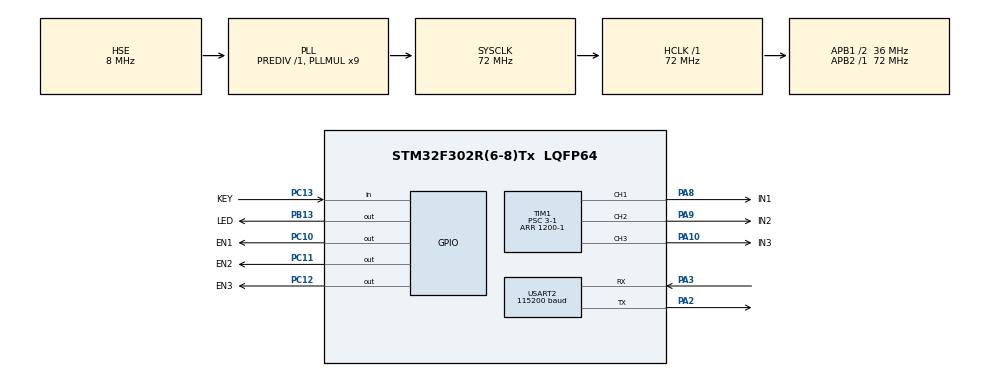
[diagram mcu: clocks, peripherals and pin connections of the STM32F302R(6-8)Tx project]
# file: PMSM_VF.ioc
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Mcu.Family=STM32F3
Mcu.Name=STM32F302R(6-8)Tx
Mcu.Package=LQFP64
NVIC.PriorityGroup=NVIC_PRIORITYGROUP_4
NVIC.TIM1_UP_TIM16_IRQn=true\:1\:0\:true\:false\:true\:true\:true
PA10.GPIO_Label=IN3
PA10.GPIO_Speed=GPIO_SPEED_FREQ_HIGH
PA10.Signal=S_TIM1_CH3
PA2.Mode=Asynchronous
PA2.Signal=USART2_TX
PA3.Mode=Asynchronous
PA3.Signal=USART2_RX
PA8.GPIO_Label=IN1
PA8.GPIO_Speed=GPIO_SPEED_FREQ_HIGH
PA8.Signal=S_TIM1_CH1
PA9.GPIO_Label=IN2
PA9.GPIO_Speed=GPIO_SPEED_FREQ_HIGH
PA9.Signal=S_TIM1_CH2
PB13.GPIO_Label=LED
PB13.GPIO_PuPd=GPIO_PULLDOWN
PB13.GPIO_Speed=GPIO_SPEED_FREQ_HIGH
PB13.Signal=GPIO_Output
PC10.GPIO_Label=EN1
PC10.GPIO_Speed=GPIO_SPEED_FREQ_HIGH
PC10.Signal=GPIO_Output
PC11.GPIO_Label=EN2
PC11.GPIO_Speed=GPIO_SPEED_FREQ_HIGH
PC11.Signal=GPIO_Output
PC12.GPIO_Label=EN3
PC12.GPIO_Speed=GPIO_SPEED_FREQ_HIGH
PC12.Signal=GPIO_Output
PC13.GPIO_Label=KEY
PC13.Signal=GPIO_Input
PF0-OSC_IN.Mode=HSE-External-Oscillator
PF0-OSC_IN.Signal=RCC_OSC_IN
PF1-OSC_OUT.Mode=HSE-External-Oscillator
PF1-OSC_OUT.Signal=RCC_OSC_OUT
ProjectManager.HeapSize=0x200
ProjectManager.StackSize=0x400
ProjectManager.TargetToolchain=MDK-ARM V5
RCC.AHBFreq_Value=72000000
RCC.APB1CLKDivider=RCC_HCLK_DIV2
RCC.APB1Freq_Value=36000000
RCC.APB1TimFreq_Value=72000000
RCC.APB2Freq_Value=72000000
RCC.APB2TimFreq_Value=72000000
RCC.CortexFreq_Value=72000000
RCC.HCLKFreq_Value=72000000
RCC.HSE_VALUE=8000000
RCC.HSI_VALUE=8000000
RCC.LSE_VALUE=32768
RCC.PLLMUL=RCC_PLL_MUL9
RCC.PLLSourceVirtual=RCC_PLLSOURCE_HSE
RCC.SYSCLKFreq_VALUE=72000000
RCC.SYSCLKSourceVirtual=RCC_SYSCLKSOURCE_PLLCLK
RCC.USBFreq_Value=72000000
SH.S_TIM1_CH1.0=TIM1_CH1,PWM Generation1 CH1
SH.S_TIM1_CH2.0=TIM1_CH2,PWM Generation2 CH2
SH.S_TIM1_CH3.0=TIM1_CH3,PWM Generation3 CH3
TIM1.Channel-PWM\ Generation1\ CH1=TIM_CHANNEL_1
TIM1.Channel-PWM\ Generation2\ CH2=TIM_CHANNEL_2
TIM1.Channel-PWM\ Generation3\ CH3=TIM_CHANNEL_3
TIM1.CounterMode=TIM_COUNTERMODE_CENTERALIGNED1
TIM1.Period=1200-1
TIM1.Prescaler=3-1
TIM1.TIM_MasterOutputTrigger=TIM_TRGO_UPDATE
USART2.BaudRate=115200
USART2.VirtualMode-Asynchronous=VM_ASYNC
VP_TIM1_VS_ClockSourceINT.Mode=Internal
board=custom

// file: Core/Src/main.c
/* USER CODE BEGIN Header */
/**
  ******************************************************************************
  * @file           : main.c
  * @brief          : Main program body
  ******************************************************************************
  * @attention
  *
  * <h2><center>&copy; Copyright (c) 2022 STMicroelectronics.
  * All rights reserved.</center></h2>
  *
  * This software component is licensed by ST under BSD 3-Clause license,
  * the "License"; You may not use this file except in compliance with the
  * License. You may obtain a copy of the License at:
  *                        opensource.org/licenses/BSD-3-Clause
  *
  ******************************************************************************
  */
/* USER CODE END Header */
#include "main.h"
#include "tim.h"
#include "usart.h"
#include "gpio.h"

/* USER CODE BEGIN Includes */
#include "PMSM_VF.h"
/* USER CODE END Includes */

/* USER CODE BEGIN PTD */
float Speed_Ref=0;
float Duty[3]={0,0,0};
float Vmin=1;
/* USER CODE END PTD */

void SystemClock_Config(void);

int main(void)
{
  /* USER CODE BEGIN 1 */
  uint8_t count=0;

  /* USER CODE END 1 */

  /* MCU Configuration--------------------------------------------------------*/

  /* Reset of all peripherals, Initializes the Flash interface and the Systick. */
  HAL_Init();

  /* Configure the system clock */
  SystemClock_Config();

  /* Initialize all configured peripherals */
  MX_GPIO_Init();
  MX_TIM1_Init();
  MX_USART2_UART_Init();
  /* USER CODE BEGIN 2 */
  PMSM_VF_initialize();  //Simulink初始化函数

  /* USER CODE END 2 */

  /* Infinite loop */
  while (1)
  {

    /* USER CODE BEGIN 3 */
	  if(Key_Scany(KEY_GPIO_Port,KEY_Pin)==1)
	  {
		  HAL_GPIO_WritePin(GPIOC, EN1_Pin|EN2_Pin|EN3_Pin, GPIO_PIN_SET);  //使能三相桥臂

		  HAL_TIM_PWM_Start(&htim1,TIM_CHANNEL_1);   //使能三路PWM
		  HAL_TIM_PWM_Start(&htim1,TIM_CHANNEL_2);
		  HAL_TIM_PWM_Start(&htim1,TIM_CHANNEL_3);

	      __HAL_TIM_ENABLE_IT(&htim1,TIM_IT_UPDATE);  //使能TIM1更新中断
	      __HAL_TIM_CLEAR_FLAG(&htim1,TIM_IT_UPDATE);

		  Speed_Ref+=500;
		  if(Speed_Ref>=12000)
			  Speed_Ref=12000;
	  }

	  HAL_Delay(1);
	  count++;
	  if(count%50==0)
	  {
		  count=0;
		  HAL_GPIO_TogglePin(LED_GPIO_Port, LED_Pin);  //程序运行指示灯
	  }
  }
  /* USER CODE END 3 */
}

void SystemClock_Config(void)
{
  RCC_OscInitTypeDef RCC_OscInitStruct = {0};
  RCC_ClkInitTypeDef RCC_ClkInitStruct = {0};
  RCC_PeriphCLKInitTypeDef PeriphClkInit = {0};

  /** Initializes the RCC Oscillators according to the specified parameters
  * in the RCC_OscInitTypeDef structure.
  */
  RCC_OscInitStruct.OscillatorType = RCC_OSCILLATORTYPE_HSE;
  RCC_OscInitStruct.HSEState = RCC_HSE_ON;
  RCC_OscInitStruct.HSEPredivValue = RCC_HSE_PREDIV_DIV1;
  RCC_OscInitStruct.HSIState = RCC_HSI_ON;
  RCC_OscInitStruct.PLL.PLLState = RCC_PLL_ON;
  RCC_OscInitStruct.PLL.PLLSource = RCC_PLLSOURCE_HSE;
  RCC_OscInitStruct.PLL.PLLMUL = RCC_PLL_MUL9;
  if (HAL_RCC_OscConfig(&RCC_OscInitStruct) != HAL_OK)
  {
    Error_Handler();
  }
  /** Initializes the CPU, AHB and APB buses clocks
  */
  RCC_ClkInitStruct.ClockType = RCC_CLOCKTYPE_HCLK|RCC_CLOCKTYPE_SYSCLK
                              |RCC_CLOCKTYPE_PCLK1|RCC_CLOCKTYPE_PCLK2;
  RCC_ClkInitStruct.SYSCLKSource = RCC_SYSCLKSOURCE_PLLCLK;
  RCC_ClkInitStruct.AHBCLKDivider = RCC_SYSCLK_DIV1;
  RCC_ClkInitStruct.APB1CLKDivider = RCC_HCLK_DIV2;
  RCC_ClkInitStruct.APB2CLKDivider = RCC_HCLK_DIV1;

  if (HAL_RCC_ClockConfig(&RCC_ClkInitStruct, FLASH_LATENCY_2) != HAL_OK)
  {
    Error_Handler();
  }
  PeriphClkInit.PeriphClockSelection = RCC_PERIPHCLK_TIM1;
  PeriphClkInit.Tim1ClockSelection = RCC_TIM1CLK_HCLK;
  if (HAL_RCCEx_PeriphCLKConfig(&PeriphClkInit) != HAL_OK)
  {
    Error_Handler();
  }
}

void Error_Handler(void)
{
  __disable_irq();
  while (1)
  {
  }
}

/************************ (C) COPYRIGHT STMicroelectronics *****END OF FILE****/
